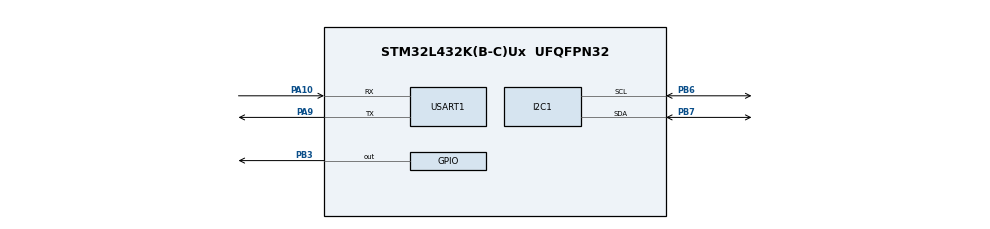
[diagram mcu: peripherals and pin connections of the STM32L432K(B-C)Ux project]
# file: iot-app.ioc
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FREERTOS.Queues01=RQ,128,uint8_t,0,Dynamic,NULL,NULL;SQ,128,uint8_t,0,Dynamic,NULL,NULL
FREERTOS.Tasks01=defaultTask,24,128,StartDefaultTask,Default,NULL,Dynamic,NULL,NULL;ReceiveWiFiAT,8,128,ReceiveWifiATFunc,Default,NULL,Dynamic,NULL,NULL;SendWifiAT,8,128,SendWifiATFunc,Default,NULL,Dynamic,NULL,NULL;HandleRTCTime,8,128,HandleRTCTimeFunc,Default,NULL,Dynamic,NULL,NULL
Mcu.Family=STM32L4
Mcu.Name=STM32L432K(B-C)Ux
Mcu.Package=UFQFPN32
NVIC.PriorityGroup=NVIC_PRIORITYGROUP_4
NVIC.TIM1_UP_TIM16_IRQn=true\:0\:0\:false\:false\:true\:false\:false\:true
NVIC.TimeBase=TIM1_UP_TIM16_IRQn
NVIC.TimeBaseIP=TIM1
NVIC.USART1_IRQn=true\:5\:0\:false\:false\:true\:true\:true\:true
PA10.Mode=Asynchronous
PA10.Signal=USART1_RX
PA13\ (JTMS-SWDIO).Mode=Serial_Wire
PA13\ (JTMS-SWDIO).Signal=SYS_JTMS-SWDIO
PA14\ (JTCK-SWCLK).Mode=Serial_Wire
PA14\ (JTCK-SWCLK).Signal=SYS_JTCK-SWCLK
PA9.Mode=Asynchronous
PA9.Signal=USART1_TX
PB3\ (JTDO-TRACESWO).Signal=GPIO_Output
PB6.Mode=I2C
PB6.Signal=I2C1_SCL
PB7.Mode=I2C
PB7.Signal=I2C1_SDA
ProjectManager.HeapSize=0x200
ProjectManager.StackSize=0x400
ProjectManager.TargetToolchain=MDK-ARM V5.27
RCC.HSE_VALUE=8000000
RCC.HSI48_VALUE=48000000
RCC.HSI_VALUE=16000000
RCC.LSE_VALUE=32768
RCC.MSI_VALUE=4000000
RCC.VCOOutputFreq_Value=32000000
USART1.VirtualMode-Asynchronous=VM_ASYNC
VP_FREERTOS_VS_CMSIS_V2.Mode=CMSIS_V2
VP_SYS_VS_tim1.Mode=TIM1
board=custom

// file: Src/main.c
/* USER CODE BEGIN Header */
/**
  ******************************************************************************
  * @file           : main.c
  * @brief          : Main program body
  ******************************************************************************
  * @attention
  *
  * <h2><center>&copy; Copyright (c) 2020 STMicroelectronics.
  * All rights reserved.</center></h2>
  *
  * This software component is licensed by ST under BSD 3-Clause license,
  * the "License"; You may not use this file except in compliance with the
  * License. You may obtain a copy of the License at:
  *                        opensource.org/licenses/BSD-3-Clause
  *
  ******************************************************************************
  */
/* USER CODE END Header */

#include "main.h"
#include "cmsis_os.h"

I2C_HandleTypeDef hi2c1;

UART_HandleTypeDef huart1;

/* Definitions for defaultTask */
osThreadId_t defaultTaskHandle;
const osThreadAttr_t defaultTask_attributes = {
  .name = "defaultTask",
  .priority = (osPriority_t) osPriorityNormal,
  .stack_size = 128 * 4
};
/* Definitions for ReceiveWiFiAT */
osThreadId_t ReceiveWiFiATHandle;
const osThreadAttr_t ReceiveWiFiAT_attributes = {
  .name = "ReceiveWiFiAT",
  .priority = (osPriority_t) osPriorityLow,
  .stack_size = 128 * 4
};
/* Definitions for SendWifiAT */
osThreadId_t SendWifiATHandle;
const osThreadAttr_t SendWifiAT_attributes = {
  .name = "SendWifiAT",
  .priority = (osPriority_t) osPriorityLow,
  .stack_size = 128 * 4
};
/* Definitions for HandleRTCTime */
osThreadId_t HandleRTCTimeHandle;
const osThreadAttr_t HandleRTCTime_attributes = {
  .name = "HandleRTCTime",
  .priority = (osPriority_t) osPriorityLow,
  .stack_size = 128 * 4
};
/* Definitions for RQ */
osMessageQueueId_t RQHandle;
const osMessageQueueAttr_t RQ_attributes = {
  .name = "RQ"
};
/* Definitions for SQ */
osMessageQueueId_t SQHandle;
const osMessageQueueAttr_t SQ_attributes = {
  .name = "SQ"
};

void SystemClock_Config(void);
static void MX_GPIO_Init(void);
static void MX_I2C1_Init(void);
static void MX_USART1_UART_Init(void);
void StartDefaultTask(void *argument);
void ReceiveWifiATFunc(void *argument);
void SendWifiATFunc(void *argument);
void HandleRTCTimeFunc(void *argument);

/* USER CODE BEGIN 0 */
#include "queue.h"
int init_khalas = 0;
uint8_t s[16];

uint8_t termSign[1] = ";";
uint8_t commandStart[2] = "AT";
uint8_t ledArgument[3] = "LED";
uint8_t timeArgument[4] = "TIME";

uint8_t orderSign[1] = "|";
uint8_t querySign[1] = "?";
uint8_t assignSign[1] = "=";
char newLine[2] = "\n\r";

uint8_t ledIsOn[2] = "On";
uint8_t ledIsOff[3] = "Off";

int timeParts[3] = {0,0,0};

int RTCOp = 0;

int getNextDigit(uint8_t* str, int sz, int* res){
	int sign = 1;
	for (int i = 0; i <= sz; i++){
		if(str[i] == '-'){
			sign = sign * -1;
		}else if(str[i]>= '0' & str[i] <= '9'){
			*res = sign*(str[i] - '0');
			return i;
		}else if(str[i] != ' ' && str[i] != '\t' && str[i] != '+'){
			return -1;
		}
	}
	return -1;
}

int matchNextStr(uint8_t* str, int sz, uint8_t* str2, int sz2){
	for (int i = 0; i < sz2; i++){
		if (i > sz || str[i]!= str2[i]){
			return -1;
		}
	}
	return sz2;
}

int getNextOpSign(uint8_t* str, int sz, int* res){
	for (int i = 0; i < sz; i++){
		if(str[i] == '-'){
			*res  = 0;
			return i;
		}else if(str[i]>= '+'){
			*res = 1;
			return i;
		}else if(str[i] != ' ' && str[i] != '\t'){
			return -1;
		}
	}
	return -1;
}

uint8_t hexToAscii(uint8_t n)//4-bit hex value converted to an ascii character
{
 if (n>=0 && n<=9) n = n + '0';
 else n = n - 10 + 'A';
 return n;
}

/* USER CODE END 0 */

int main(void)
{

  /* MCU Configuration--------------------------------------------------------*/

  /* Reset of all peripherals, Initializes the Flash interface and the Systick. */
  HAL_Init();

  /* Configure the system clock */
  SystemClock_Config();

  /* Initialize all configured peripherals */
  MX_GPIO_Init();
  MX_I2C1_Init();
  MX_USART1_UART_Init();
  /* USER CODE BEGIN 2 */
	__HAL_UART_ENABLE_IT(&huart1, UART_IT_RXNE);
	__HAL_UART_ENABLE_IT(&huart1, UART_IT_TC);
  /* USER CODE END 2 */

  /* Init scheduler */
  osKernelInitialize();

  /* Create the queue(s) */
  /* creation of RQ */
  RQHandle = osMessageQueueNew (128, sizeof(uint8_t), &RQ_attributes);

  /* creation of SQ */
  SQHandle = osMessageQueueNew (128, sizeof(uint8_t), &SQ_attributes);

  /* Create the thread(s) */
  /* creation of defaultTask */
  defaultTaskHandle = osThreadNew(StartDefaultTask, NULL, &defaultTask_attributes);

  /* creation of ReceiveWiFiAT */
  ReceiveWiFiATHandle = osThreadNew(ReceiveWifiATFunc, NULL, &ReceiveWiFiAT_attributes);

  /* creation of SendWifiAT */
  SendWifiATHandle = osThreadNew(SendWifiATFunc, NULL, &SendWifiAT_attributes);

  /* creation of HandleRTCTime */
  HandleRTCTimeHandle = osThreadNew(HandleRTCTimeFunc, NULL, &HandleRTCTime_attributes);

  /* Start scheduler */
  osKernelStart();

  /* We should never get here as control is now taken by the scheduler */
  /* Infinite loop */
  while (1)
  {

  }
}

void SystemClock_Config(void)
{
  RCC_OscInitTypeDef RCC_OscInitStruct = {0};
  RCC_ClkInitTypeDef RCC_ClkInitStruct = {0};
  RCC_PeriphCLKInitTypeDef PeriphClkInit = {0};

  /** Initializes the CPU, AHB and APB busses clocks
  */
  RCC_OscInitStruct.OscillatorType = RCC_OSCILLATORTYPE_MSI;
  RCC_OscInitStruct.MSIState = RCC_MSI_ON;
  RCC_OscInitStruct.MSICalibrationValue = 0;
  RCC_OscInitStruct.MSIClockRange = RCC_MSIRANGE_6;
  RCC_OscInitStruct.PLL.PLLState = RCC_PLL_NONE;
  if (HAL_RCC_OscConfig(&RCC_OscInitStruct) != HAL_OK)
  {
    Error_Handler();
  }
  /** Initializes the CPU, AHB and APB busses clocks
  */
  RCC_ClkInitStruct.ClockType = RCC_CLOCKTYPE_HCLK|RCC_CLOCKTYPE_SYSCLK
                              |RCC_CLOCKTYPE_PCLK1|RCC_CLOCKTYPE_PCLK2;
  RCC_ClkInitStruct.SYSCLKSource = RCC_SYSCLKSOURCE_MSI;
  RCC_ClkInitStruct.AHBCLKDivider = RCC_SYSCLK_DIV1;
  RCC_ClkInitStruct.APB1CLKDivider = RCC_HCLK_DIV1;
  RCC_ClkInitStruct.APB2CLKDivider = RCC_HCLK_DIV1;

  if (HAL_RCC_ClockConfig(&RCC_ClkInitStruct, FLASH_LATENCY_0) != HAL_OK)
  {
    Error_Handler();
  }
  PeriphClkInit.PeriphClockSelection = RCC_PERIPHCLK_USART1|RCC_PERIPHCLK_I2C1;
  PeriphClkInit.Usart1ClockSelection = RCC_USART1CLKSOURCE_PCLK2;
  PeriphClkInit.I2c1ClockSelection = RCC_I2C1CLKSOURCE_PCLK1;
  if (HAL_RCCEx_PeriphCLKConfig(&PeriphClkInit) != HAL_OK)
  {
    Error_Handler();
  }
  /** Configure the main internal regulator output voltage
  */
  if (HAL_PWREx_ControlVoltageScaling(PWR_REGULATOR_VOLTAGE_SCALE1) != HAL_OK)
  {
    Error_Handler();
  }
}

static void MX_I2C1_Init(void)
{

  hi2c1.Instance = I2C1;
  hi2c1.Init.Timing = 0x00000E14;
  hi2c1.Init.OwnAddress1 = 0;
  hi2c1.Init.AddressingMode = I2C_ADDRESSINGMODE_7BIT;
  hi2c1.Init.DualAddressMode = I2C_DUALADDRESS_DISABLE;
  hi2c1.Init.OwnAddress2 = 0;
  hi2c1.Init.OwnAddress2Masks = I2C_OA2_NOMASK;
  hi2c1.Init.GeneralCallMode = I2C_GENERALCALL_DISABLE;
  hi2c1.Init.NoStretchMode = I2C_NOSTRETCH_DISABLE;
  if (HAL_I2C_Init(&hi2c1) != HAL_OK)
  {
    Error_Handler();
  }
  /** Configure Analogue filter
  */
  if (HAL_I2CEx_ConfigAnalogFilter(&hi2c1, I2C_ANALOGFILTER_ENABLE) != HAL_OK)
  {
    Error_Handler();
  }
  /** Configure Digital filter
  */
  if (HAL_I2CEx_ConfigDigitalFilter(&hi2c1, 0) != HAL_OK)
  {
    Error_Handler();
  }

}

static void MX_USART1_UART_Init(void)
{

  huart1.Instance = USART1;
  huart1.Init.BaudRate = 115200;
  huart1.Init.WordLength = UART_WORDLENGTH_8B;
  huart1.Init.StopBits = UART_STOPBITS_1;
  huart1.Init.Parity = UART_PARITY_NONE;
  huart1.Init.Mode = UART_MODE_TX_RX;
  huart1.Init.HwFlowCtl = UART_HWCONTROL_NONE;
  huart1.Init.OverSampling = UART_OVERSAMPLING_16;
  huart1.Init.OneBitSampling = UART_ONE_BIT_SAMPLE_DISABLE;
  huart1.AdvancedInit.AdvFeatureInit = UART_ADVFEATURE_NO_INIT;
  if (HAL_UART_Init(&huart1) != HAL_OK)
  {
    Error_Handler();
  }

}

static void MX_GPIO_Init(void)
{
  GPIO_InitTypeDef GPIO_InitStruct = {0};

  /* GPIO Ports Clock Enable */
  __HAL_RCC_GPIOA_CLK_ENABLE();
  __HAL_RCC_GPIOB_CLK_ENABLE();

  /*Configure GPIO pin Output Level */
  HAL_GPIO_WritePin(GPIOB, GPIO_PIN_3, GPIO_PIN_RESET);

  /*Configure GPIO pin : PB3 */
  GPIO_InitStruct.Pin = GPIO_PIN_3;
  GPIO_InitStruct.Mode = GPIO_MODE_OUTPUT_PP;
  GPIO_InitStruct.Pull = GPIO_NOPULL;
  GPIO_InitStruct.Speed = GPIO_SPEED_FREQ_LOW;
  HAL_GPIO_Init(GPIOB, &GPIO_InitStruct);

}

void StartDefaultTask(void *argument)
{
  /* USER CODE BEGIN 5 */
  /* Infinite loop */
	uint8_t innerBuffer[32];
	int seeker = 0;
  for(;;)
  {
		if(seeker > 31){
			seeker = 0;
		}

		if( xQueueReceive( RQHandle, &innerBuffer[seeker], portMAX_DELAY ) != pdPASS ){
			// nothing
		}else{
			taskENTER_CRITICAL();
			// HAL_UART_Transmit(&huart2, (uint8_t *)&innerBuffer[seeker], sizeof(uint8_t),1);
			//if( xQueueSendToBack(SQHandle, &innerBuffer[seeker], 500) != pdPASS ) {}else {}

			int baseInd = 0;
			if(innerBuffer[seeker] == termSign[0]){
				int atInd, ledInd, timeInd;

				atInd = matchNextStr(innerBuffer, seeker - baseInd, commandStart, 2);
				if ( atInd != -1){
					baseInd = atInd;
					ledInd = matchNextStr(&innerBuffer[baseInd], seeker - baseInd, ledArgument, 3);
					timeInd = matchNextStr(&innerBuffer[baseInd], seeker - baseInd, timeArgument, 4);

					int queryInd, assignInd;
					if(ledInd != -1 ){
						baseInd = baseInd+ledInd;
						queryInd = matchNextStr(&innerBuffer[baseInd], seeker - baseInd, querySign, 1);
						assignInd = matchNextStr(&innerBuffer[baseInd], seeker - baseInd, assignSign, 1);

						if(queryInd!=-1){
							int res = HAL_GPIO_ReadPin(GPIOB,PWR_PDCRB_PB3);
							if (res){
								HAL_UART_Transmit(&huart1, ledIsOn, sizeof(ledIsOn),1);
							}else {
								HAL_UART_Transmit(&huart1, ledIsOff, sizeof(ledIsOff),1);
							}
						}else if (assignInd != -1){
							baseInd = baseInd + assignInd;
							int newVal = 0;
							int newValInd = getNextDigit(&innerBuffer[baseInd], seeker-baseInd, &newVal);
							if (newValInd!=-1){
								HAL_GPIO_WritePin(GPIOB, PWR_PDCRB_PB3, newVal);
							}
						}

					}else if (timeInd != -1){
						baseInd = baseInd+timeInd;
						queryInd = matchNextStr(&innerBuffer[baseInd], seeker - baseInd, querySign, 1);
						assignInd = matchNextStr(&innerBuffer[baseInd], seeker - baseInd, assignSign, 1);

						if(queryInd!=-1){
							RTCOp = 3;
							vTaskResume(HandleRTCTimeHandle);
						}else if (assignInd != -1){
							baseInd = baseInd + assignInd;
							int RTCOpInd = getNextDigit(&innerBuffer[baseInd], seeker-baseInd, &RTCOp);

							if (RTCOpInd != -1){
								baseInd = baseInd + 1;
								int a,b;
								int aInd = 0, bInd = 0;
								int done = 1;

								for (int i =0; i < 3; i++){
									aInd = getNextDigit(&innerBuffer[baseInd], seeker-baseInd, &a);
									bInd = getNextDigit(&innerBuffer[baseInd + 1], seeker - baseInd - 1, &b);

									if (aInd != -1 && bInd !=-1){
										timeParts[i] = a*10 + b;
										baseInd = baseInd + 1 + 1+1;
									}else {
										done = 0;
										break;
									}
								}

								if (done){
									vTaskResume(HandleRTCTimeHandle);
								}
							}
						}
					}else {

					}
				}

				/*

				if( xQueueSendToBack(SQHandle, &newLine[0], 500) != pdPASS ){

				}else{

				}

				if( xQueueSendToBack(SQHandle, &newLine[1], 500) != pdPASS ) {

				} else {

				}
				*/

				seeker = 0;
			}else {
				seeker++;
			}

			taskEXIT_CRITICAL();
		}

		if (seeker == 0){
			osDelay(30);
		}
  }

  /* USER CODE END 5 */
}

void ReceiveWifiATFunc(void *argument)
{
  /* USER CODE BEGIN ReceiveWifiATFunc */
	init_khalas = 1;
  /* Infinite loop */
  for(;;)
  {
		vTaskSuspend(NULL);
		taskENTER_CRITICAL();
		vTaskSuspend(SendWifiATHandle);

		for (int i= 0; i < 16 ; i++){
			if (s[i] != '\0'){
				taskENTER_CRITICAL();
				if( xQueueSendToBack(RQHandle, &s[i], 500) != pdPASS ) {
				}else {

				}
				s[i] = '\0';
				taskEXIT_CRITICAL();
			}
		}

		vTaskResume(SendWifiATHandle);
		taskEXIT_CRITICAL();
  }
  /* USER CODE END ReceiveWifiATFunc */
}

void SendWifiATFunc(void *argument)
{
  /* USER CODE BEGIN SendWifiATFunc */
  /* Infinite loop */
	uint8_t innerBuffer[1];
  for(;;)
  {
    if( xQueueReceive( SQHandle, &innerBuffer[0], 1 ) != pdPASS ){
			// nothing
		}else{
			taskENTER_CRITICAL();
			HAL_UART_Transmit(&huart1, (uint8_t *)&innerBuffer[0], sizeof(uint8_t),1);
			taskEXIT_CRITICAL();
		}

		osDelay(1);
  }
  /* USER CODE END SendWifiATFunc */
}

void HandleRTCTimeFunc(void *argument)
{
  /* USER CODE BEGIN HandleRTCTimeFunc */
  //Transmit via I2C
	uint8_t secbuffer [2], minbuffer [2], hourbuffer [2];
	// seconds
	secbuffer[0] = 0x00; //register address
	secbuffer[1] = 0x01; //data to put in register --> 0 sec
	HAL_I2C_Master_Transmit(&hi2c1, 0xD0, secbuffer, 2, 10);
	// minutes
	minbuffer[0] = 0x01; //register address
	minbuffer[1] = 0x00; //data to put in register --> 15 min
	HAL_I2C_Master_Transmit(&hi2c1, 0xD0, minbuffer, 2, 10);
	// hours
	hourbuffer[0] = 0x02; //register address
	hourbuffer[1] = 0x00; //data to put in register 0100 1001 --> 7 am
	HAL_I2C_Master_Transmit(&hi2c1, 0xD0, hourbuffer, 2, 10);
	//Receive via I2C and forward to UART
	uint8_t out[] = {0,0,':',0,0,':',0,0,'\r','\n'};

	uint8_t alarmsecbuffer [2], alarmminbuffer [2], alarmhourbuffer [2], alaramdate[2], alarmcontrol[2], alarmstatus[2];
	//register address
	alarmsecbuffer[0] = 0x07;
	alarmminbuffer[0] = 0x08;
	alarmhourbuffer[0] = 0x09;

	//date
	alaramdate[0] = 0x0A;
	alaramdate[1] = 0x80;
	//control
	alarmcontrol[0] = 0x0e;
	alarmcontrol[1] = 0x1d;
	//status
	alarmstatus[0] = 0x0f;
	alarmstatus[1] = 0x88;

  /* Infinite loop */
  for(;;)
  {
		vTaskSuspend(NULL);

		if (RTCOp == 1 || RTCOp == 2){
			secbuffer[1] = timeParts[2] % 10;
			secbuffer[1] = secbuffer[1] + timeParts[2] / 10 * 16;

			minbuffer[1] = timeParts[1] % 10;
			minbuffer[1] = minbuffer[1] + timeParts[1] / 10 * 16;

			/*
			if(timeParts[0] > 12){
				hourbuffer[1] = 0x60;
				timeParts[0] = timeParts[0] - 12;
			}else {
				hourbuffer[1] = 0x40;
			}
			*/

			hourbuffer[1] = 0 + timeParts[0] % 10;
			hourbuffer[1] = hourbuffer[1] + timeParts[0] / 10 * 16;

		}

		if (RTCOp == 1){
			HAL_I2C_Master_Transmit(&hi2c1, 0xD0, secbuffer, 2, 10);
			HAL_I2C_Master_Transmit(&hi2c1, 0xD0, minbuffer, 2, 10);
			HAL_I2C_Master_Transmit(&hi2c1, 0xD0, hourbuffer, 2, 10);
		}else if (RTCOp == 2){

			alarmsecbuffer[1] = secbuffer[1];
			HAL_I2C_Master_Transmit(&hi2c1, 0xD0, alarmsecbuffer, 2, 10);

			alarmminbuffer[1] = minbuffer[1];
			HAL_I2C_Master_Transmit(&hi2c1, 0xD0, alarmminbuffer, 2, 10);

			alarmhourbuffer[1] = hourbuffer[1];
			HAL_I2C_Master_Transmit(&hi2c1, 0xD0, alarmhourbuffer, 2, 10);

			HAL_I2C_Master_Transmit(&hi2c1, 0xD0, alaramdate, 2, 10);
			HAL_I2C_Master_Transmit(&hi2c1, 0xD0, alarmcontrol, 2, 10);
			HAL_I2C_Master_Transmit(&hi2c1, 0xD0, alarmstatus, 2, 10);

		}else if (RTCOp == 3){
			//send seconds register address 00h to read from
			HAL_I2C_Master_Transmit(&hi2c1, 0xD0, secbuffer, 1, 10);
			//read data of register 00h to secbuffer[1]
			HAL_I2C_Master_Receive(&hi2c1, 0xD1, secbuffer+1, 1, 10);
			//prepare UART output
			out[6] = hexToAscii(secbuffer[1] >> 4 );
			out[7] = hexToAscii(secbuffer[1] & 0x0F );
			HAL_I2C_Master_Transmit(&hi2c1, 0xD0, minbuffer, 1, 10);
			HAL_I2C_Master_Receive(&hi2c1, 0xD1, minbuffer+1, 1, 10);
			out[3] = hexToAscii(minbuffer[1] >> 4 );
			out[4] = hexToAscii(minbuffer[1] & 0x0F );
			HAL_I2C_Master_Transmit(&hi2c1, 0xD0, hourbuffer, 1, 10);
			HAL_I2C_Master_Receive(&hi2c1, 0xD1, hourbuffer+1, 1, 10);
			out[0] = hexToAscii((hourbuffer[1] >> 4)&0x7);
			out[1] = hexToAscii(hourbuffer[1] & 0x0F);

			// transmit time to UART
			HAL_UART_Transmit(&huart1,out, sizeof(out), 10);
		}
  }
  /* USER CODE END HandleRTCTimeFunc */
}

 /**
  * @brief  Period elapsed callback in non blocking mode
  * @note   This function is called  when TIM1 interrupt took place, inside
  * HAL_TIM_IRQHandler(). It makes a direct call to HAL_IncTick() to increment
  * a global variable "uwTick" used as application time base.
  * @param  htim : TIM handle
  * @retval None
  */
void HAL_TIM_PeriodElapsedCallback(TIM_HandleTypeDef *htim)
{
  if (htim->Instance == TIM1) {
    HAL_IncTick();
  }
}

void Error_Handler(void)
{
}

/************************ (C) COPYRIGHT STMicroelectronics *****END OF FILE****/
